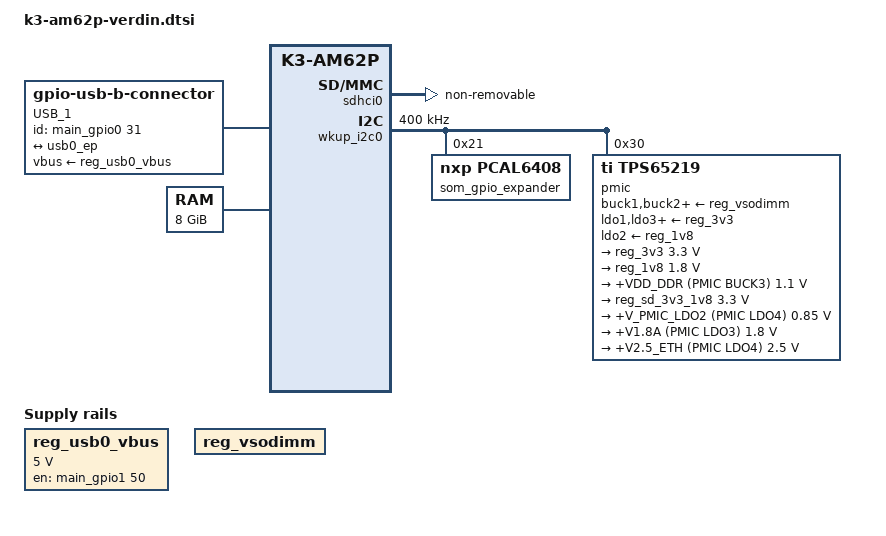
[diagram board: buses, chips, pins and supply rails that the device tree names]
// SPDX-License-Identifier: GPL-2.0-or-later OR MIT
/*
 * Copyright 2025 Toradex
 *
 * Common dtsi for Verdin AM62P SoM
 *
 * https://www.toradex.com/computer-on-modules/verdin-arm-family/ti-am62p
 */

#include <dt-bindings/gpio/gpio.h>
#include <dt-bindings/interrupt-controller/arm-gic.h>
#include <dt-bindings/interrupt-controller/irq.h>
#include <dt-bindings/net/ti-dp83867.h>

/ {
	aliases {
		ethernet0 = &cpsw_port1;
		mmc0 = &sdhci0;
		serial2 = &main_uart0;
		usb0 = &usb0;
	};

	chosen {
		stdout-path = "serial2:115200n8";
	};

	connector {
		compatible = "gpio-usb-b-connector", "usb-b-connector";
		pinctrl-names = "default";
		pinctrl-0 = <&pinctrl_usb0_id>;
		id-gpios = <&main_gpio0 31 GPIO_ACTIVE_HIGH>;
		label = "USB_1";
		self-powered;
		vbus-supply = <&reg_usb0_vbus>;

		port {
			usb_dr_connector: endpoint {
				remote-endpoint = <&usb0_ep>;
			};
		};
	};

	memory@80000000 {
		/* 8G RAM */
		reg = <0x00000000 0x80000000 0x00000000 0x80000000>,
		      <0x00000008 0x80000000 0x00000001 0x80000000>;
		device_type = "memory";
	};

	opp-table {
		/* Add 1.4GHz OPP. Requires VDD_CORE to be at 0.85V */
		opp-1400000000 {
			opp-hz = /bits/ 64 <1400000000>;
			opp-supported-hw = <0x01 0x0004>;
			clock-latency-ns = <6000000>;
		};
	};

	reg_usb0_vbus: regulator-usb0-vbus {
		compatible = "regulator-fixed";
		pinctrl-names = "default";
		pinctrl-0 = <&pinctrl_usb0_en>;
		enable-active-high;
		/* Verdin USB_1_EN (SODIMM 155) */
		gpio = <&main_gpio1 50 GPIO_ACTIVE_HIGH>;
		regulator-max-microvolt = <5000000>;
		regulator-min-microvolt = <5000000>;
		regulator-name = "USB_1_EN";
	};

	/* Module Power Supply */
	reg_vsodimm: regulator-vsodimm {
		compatible = "regulator-fixed";
		regulator-name = "+V_SODIMM";
	};

	reserved-memory {
		#address-cells = <2>;
		#size-cells = <2>;
		ranges;

		secure_tfa_ddr: tfa@9e780000 {
			reg = <0x00 0x9e780000 0x00 0x80000>;
			no-map;
		};

		secure_ddr: optee@9e800000 {
			reg = <0x00 0x9e800000 0x00 0x01800000>; /* for OP-TEE */
			no-map;
		};

		wkup_r5fss0_core0_memory_region: r5f-dma-memory@9c900000 {
			compatible = "shared-dma-pool";
			reg = <0x00 0x9c900000 0x00 0x01e00000>;
			no-map;
		};
	};
};

&main_pmx0 {
	/* Verdin USB_1_ID */
	pinctrl_usb0_id: main-gpio0-31-default-pins {
		pinctrl-single,pins = <
			AM62PX_IOPAD(0x007c, PIN_INPUT, 7) /* (Y25) GPMC0_CLK.GPIO0_31 */ /* SODIMM 161 */
		>;
	};

	pinctrl_eth_int: main-gpio0-36-default-pins {
		pinctrl-single,pins = <
			AM62PX_IOPAD(0x0094, PIN_INPUT, 7) /* (T24) GPMC0_BE1n.GPIO0_36 */ /* ETH_INT# */
		>;
	};

	/* Verdin USB_1_EN */
	pinctrl_usb0_en: main-gpio1-50-default-pins {
		pinctrl-single,pins = <
			AM62PX_IOPAD(0x0254, PIN_INPUT, 7) /* (G22) USB0_DRVVBUS.GPIO1_50 */ /* SODIMM 155 */
		>;
	};

	/* Verdin ETH_1 RGMII (On-module PHY) */
	pinctrl_rgmii1: main-rgmii1-default-pins {
		pinctrl-single,pins = <
			AM62PX_IOPAD(0x014c, PIN_INPUT, 0) /* (B15) RGMII1_RD0    */ /* RGMII_RXD0   */
			AM62PX_IOPAD(0x0150, PIN_INPUT, 0) /* (B16) RGMII1_RD1    */ /* RGMII_RXD1   */
			AM62PX_IOPAD(0x0154, PIN_INPUT, 0) /* (A14) RGMII1_RD2    */ /* RGMII_RXD2   */
			AM62PX_IOPAD(0x0158, PIN_INPUT, 0) /* (B14) RGMII1_RD3    */ /* RGMII_RXD3   */
			AM62PX_IOPAD(0x0148, PIN_INPUT, 0) /* (A16) RGMII1_RXC    */ /* RGMII_RXC    */
			AM62PX_IOPAD(0x0144, PIN_INPUT, 0) /* (A15) RGMII1_RX_CTL */ /* RGMII_RX_CTL */
			AM62PX_IOPAD(0x0134, PIN_INPUT, 0) /* (A18) RGMII1_TD0    */ /* RGMII_TXD0   */
			AM62PX_IOPAD(0x0138, PIN_INPUT, 0) /* (C17) RGMII1_TD1    */ /* RGMII_TXD1   */
			AM62PX_IOPAD(0x013c, PIN_INPUT, 0) /* (A17) RGMII1_TD2    */ /* RGMII_TXD2   */
			AM62PX_IOPAD(0x0140, PIN_INPUT, 0) /* (C16) RGMII1_TD3    */ /* RGMII_TXD3   */
			AM62PX_IOPAD(0x0130, PIN_INPUT, 0) /* (B17) RGMII1_TXC    */ /* RGMII_TXC    */
			AM62PX_IOPAD(0x012c, PIN_INPUT, 0) /* (B18) RGMII1_TX_CTL */ /* RGMII_TX_CTL */
		>;
	};

	pinctrl_eth_clock: main-system-clkout0-default-pins {
		pinctrl-single,pins = <
			AM62PX_IOPAD(0x01f0, PIN_OUTPUT_PULLUP, 5) /* (C25) EXT_REFCLK1.CLKOUT0 */ /* ETH_25MHz_CLK */
		>;
	};

	pinctrl_pmic_extint: main-system-extint-default-pins {
		pinctrl-single,pins = <
			AM62PX_IOPAD(0x01f4, PIN_INPUT, 0) /* (C23) EXTINTn */ /* PMIC_EXTINT# */
		>;
	};

	/* Verdin UART_3, used as the Linux console */
	pinctrl_uart0: main-uart0-default-pins {
		pinctrl-single,pins = <
			AM62PX_IOPAD(0x1c8, PIN_INPUT,  0) /* (A22) UART0_RXD */ /* SODIMM 147 */
			AM62PX_IOPAD(0x1cc, PIN_OUTPUT, 0) /* (B22) UART0_TXD */ /* SODIMM 149 */
		>;
	};

	/* MDIO, shared by Verdin ETH_1 (On-module PHY) and Verdin ETH_2_RGMII */
	pinctrl_mdio: mdio0-default-pins {
		pinctrl-single,pins = <
			AM62PX_IOPAD(0x0160, PIN_OUTPUT, 0) /* (F17) MDIO0_MDC  */ /* SODIMM 193 */
			AM62PX_IOPAD(0x015c, PIN_INPUT,  0) /* (F16) MDIO0_MDIO */ /* SODIMM 191 */
		>;
	};
};

&mcu_pmx0 {
	/* On-module I2C - PMIC_I2C */
	pinctrl_wkup_i2c0: wkup-i2c0-default-pins {
		pinctrl-single,pins = <
			AM62PX_MCU_IOPAD(0x004c, PIN_INPUT, 0) /* (A13) WKUP_I2C0_SCL */ /* PMIC_I2C_SCL */
			AM62PX_MCU_IOPAD(0x0050, PIN_INPUT, 0) /* (C11) WKUP_I2C0_SDA */ /* PMIC_I2C_SDA */
		>;
	};
};

&cpsw3g {
	pinctrl-names = "default";
	pinctrl-0 = <&pinctrl_rgmii1>;
	status = "disabled";
};

/* MDIO, shared by Verdin ETH_1 (On-module PHY) and Verdin ETH_2_RGMII */
&cpsw3g_mdio {
	pinctrl-names = "default";
	pinctrl-0 = <&pinctrl_mdio>, <&pinctrl_eth_clock>;
	assigned-clocks = <&k3_clks 157 36>;
	assigned-clock-parents = <&k3_clks 157 38>;
	assigned-clock-rates = <25000000>;
	status = "disabled";

	som_eth_phy: ethernet-phy@0 {
		reg = <0>;
		pinctrl-names = "default";
		pinctrl-0 = <&pinctrl_eth_int>;
		interrupt-parent = <&main_gpio0>;
		interrupts = <36 IRQ_TYPE_EDGE_FALLING>;
		ti,rx-internal-delay = <DP83867_RGMIIDCTL_2_00_NS>;
		ti,fifo-depth = <DP83867_PHYCR_FIFO_DEPTH_4_B_NIB>;
	};
};

/* Verdin ETH_1 (On-module PHY) */
&cpsw_port1 {
	phy-handle = <&som_eth_phy>;
	phy-mode = "rgmii-rxid";
	status = "disabled";
};

&mailbox0_cluster0 {
	status = "okay";

	mbox_r5_0: mbox-r5-0 {
		ti,mbox-rx = <0 0 0>;
		ti,mbox-tx = <1 0 0>;
	};
};

&mailbox0_cluster1 {
	status = "okay";

	mbox_mcu_r5_0: mbox-mcu-r5-0 {
		ti,mbox-rx = <0 0 0>;
		ti,mbox-tx = <1 0 0>;
	};
};

/* Verdin UART_3, used as the Linux console */
&main_uart0 {
	pinctrl-names = "default";
	pinctrl-0 = <&pinctrl_uart0>;
	status = "disabled";
};

/* On-module eMMC */
&sdhci0 {
	no-mmc-hs400;
	non-removable;
	ti,driver-strength-ohm = <50>;
	status = "okay";
};

/* Verdin USB_1 */
&usbss0 {
	ti,vbus-divider;
	status = "disabled";
};

&usb0 {
	adp-disable;
	usb-role-switch;
	status = "disabled";

	port {
		usb0_ep: endpoint {
			remote-endpoint = <&usb_dr_connector>;
		};
	};
};

/* On-module I2C - PMIC_I2C */
&wkup_i2c0 {
	pinctrl-names = "default";
	pinctrl-0 = <&pinctrl_wkup_i2c0>;
	clock-frequency = <400000>;
	status = "okay";

	som_gpio_expander: gpio@21 {
		compatible = "nxp,pcal6408";
		reg = <0x21>;
		#gpio-cells = <2>;
		gpio-controller;
		gpio-line-names = "SODIMM_256";
	};

	pmic@30 {
		compatible = "ti,tps65219";
		reg = <0x30>;
		pinctrl-names = "default";
		pinctrl-0 = <&pinctrl_pmic_extint>;
		interrupt-parent = <&gic500>;
		interrupts = <GIC_SPI 224 IRQ_TYPE_LEVEL_HIGH>;

		buck1-supply = <&reg_vsodimm>;
		buck2-supply = <&reg_vsodimm>;
		buck3-supply = <&reg_vsodimm>;
		ldo1-supply = <&reg_3v3>;
		ldo2-supply = <&reg_1v8>;
		ldo3-supply = <&reg_3v3>;
		ldo4-supply = <&reg_3v3>;
		system-power-controller;
		ti,power-button;

		regulators {
			reg_3v3: buck1 {
				regulator-always-on;
				regulator-boot-on;
				regulator-max-microvolt = <3300000>;
				regulator-min-microvolt = <3300000>;
				regulator-name = "+V3.3 (PMIC BUCK1)";
			};

			reg_1v8: buck2 {
				regulator-always-on;
				regulator-boot-on;
				regulator-max-microvolt = <1800000>;
				regulator-min-microvolt = <1800000>;
				regulator-name = "+V1.8 (PMIC BUCK2)"; /* On-module and SODIMM 214 */
			};

			buck3 {
				regulator-always-on;
				regulator-boot-on;
				regulator-max-microvolt = <1100000>;
				regulator-min-microvolt = <1100000>;
				regulator-name = "+VDD_DDR (PMIC BUCK3)";
			};

			reg_sd_3v3_1v8: ldo1 {
				regulator-allow-bypass;
				regulator-always-on;
				regulator-boot-on;
				regulator-max-microvolt = <3300000>;
				regulator-min-microvolt = <3300000>;
				regulator-name = "+V3.3_1.8_SD (PMIC LDO1)";
			};

			ldo2 {
				regulator-always-on;
				regulator-boot-on;
				regulator-max-microvolt = <850000>;
				regulator-min-microvolt = <850000>;
				regulator-name = "+V_PMIC_LDO2 (PMIC LDO4)"; // +VDDR_CORE
			};

			ldo3 {
				regulator-always-on;
				regulator-boot-on;
				regulator-max-microvolt = <1800000>;
				regulator-min-microvolt = <1800000>;
				regulator-name = "+V1.8A (PMIC LDO3)";
			};

			ldo4 {
				regulator-always-on;
				regulator-boot-on;
				regulator-max-microvolt = <2500000>;
				regulator-min-microvolt = <2500000>;
				regulator-name = "+V2.5_ETH (PMIC LDO4)";
			};
		};
	};
};

